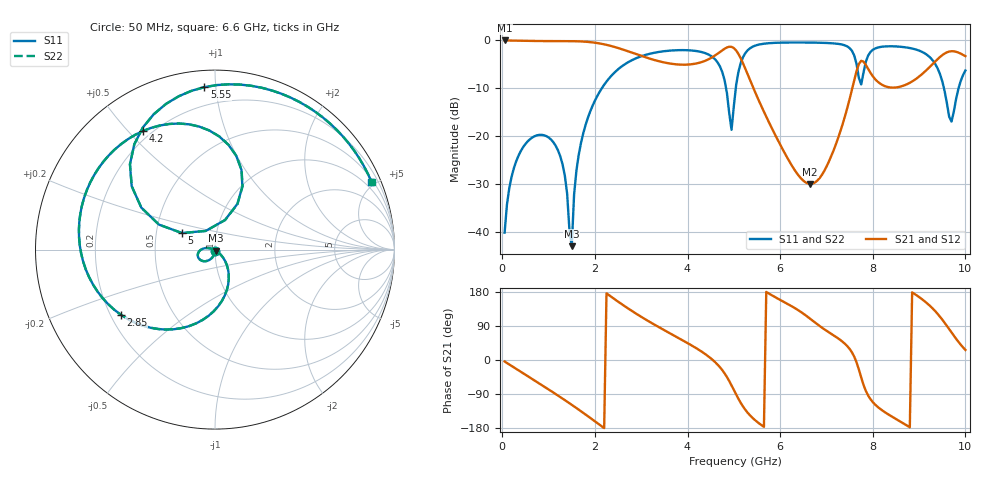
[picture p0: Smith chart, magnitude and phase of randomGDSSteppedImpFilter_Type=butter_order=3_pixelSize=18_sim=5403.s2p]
! freq	dB(S11)	phase(S11)	dB(S12)	phase(S12)
!  dB(S21)	phase(S21)	dB(S22)	phase(S22)
!S-par simulation data
#  GHz  S  DB  R 50
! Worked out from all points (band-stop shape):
!   200 points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, 50 MHz to 10 GHz, reference 50 ohm
!   highest |S21| = -0.01 dB at 50 MHz (marker M1); lowest = -30.0 dB at 6.65 GHz (marker M2)
!   |S21| within 3 dB of the highest: start of sweep to 2.933 GHz; 4.615 GHz to 5.109 GHz (493.9 MHz wide, 10.2 % of centre) (the widest 2 of 3)
!   lowest |S11| = -43.0 dB at 1.5 GHz (marker M3), VSWR 1.01, Z = 50.4 - j0.579 ohm
!   |S11| at or under -10 dB: start of sweep to 2.149 GHz; 4.832 GHz to 5.042 GHz (210.3 MHz wide, 4.26 % of centre); 9.537 GHz to 9.852 GHz (315.2 MHz wide, 3.25 % of centre)
!   |S22| runs from -43.0 to -0.4 dB; largest |S21 - S12| = 0
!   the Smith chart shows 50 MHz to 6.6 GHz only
!   S11 on the Smith chart (normalised r, x): 50 MHz: 1.00, -0.02; 2.85 GHz: 0.24, -0.29; 4.2 GHz: 0.17, +0.55; 5 GHz: 0.68, +0.13; 5.55 GHz: 0.09, +0.93; 6.6 GHz: 0.61, +4.73
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0.05  -40.19 -90.6  -0.01 -4.0  -0.01 -4.0  -40.20 -90.5
0.3  -25.27 -113.0  -0.05 -23.4  -0.05 -23.4  -25.27 -112.9
0.9  -19.82 -159.8  -0.14 -69.9  -0.14 -69.9  -19.82 -159.8
1.3  -25.86 170.2  -0.15 -101.7  -0.15 -101.7  -25.85 170.2
1.5  -43.02 -54.4  -0.16 -118.2  -0.16 -118.2  -42.99 -55.1
1.75  -19.35 -52.4  -0.24 -139.6  -0.24 -139.6  -19.35 -52.4
2.85  -3.90 -145.5  -2.73 125.4  -2.73 125.4  -3.90 -145.5
3.4  -2.38 175.0  -4.39 85.4  -4.39 85.4  -2.38 175.0
4.2  -2.23 121.4  -4.80 30.3  -4.80 30.3  -2.23 121.3
4.75  -6.60 71.6  -2.07 -26.7  -2.07 -26.7  -6.61 71.5
5  -13.75 153.3  -1.60 -78.9  -1.60 -78.9  -13.75 153.4
5.05  -9.32 156.0  -2.11 -91.0  -2.11 -91.0  -9.32 156.0
5.55  -0.85 93.8  -12.81 -167.8  -12.81 -167.8  -0.85 93.7
6.6  -0.44 23.5  -29.92 113.4  -29.92 113.4  -0.44 23.4
6.65  -0.45 20.6  -30.01 108.7  -30.01 108.7  -0.45 20.4
6.7  -0.46 17.6  -29.94 104.0  -29.94 104.0  -0.46 17.4
7.7  -7.84 -52.0  -4.93 -25.2  -4.93 -25.2  -7.91 -52.5
7.95  -2.42 -21.5  -6.77 -103.4  -6.77 -103.4  -2.43 -21.5
8.35  -1.23 -53.6  -9.80 -144.7  -9.80 -144.7  -1.23 -53.7
9.3  -4.24 -122.6  -4.88 135.1  -4.88 135.1  -4.25 -123.0
9.7  -16.98 -94.8  -2.26 72.7  -2.26 72.7  -17.29 -94.5
10  -6.29 -71.9  -3.29 26.6  -3.29 26.6  -6.31 -71.5
